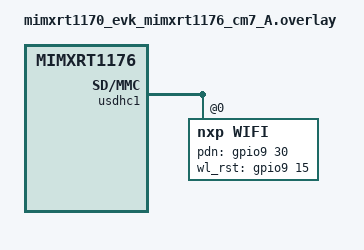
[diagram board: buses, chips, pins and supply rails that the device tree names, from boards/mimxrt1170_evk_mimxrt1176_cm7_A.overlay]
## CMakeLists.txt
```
# SPDX-License-Identifier: Apache-2.0

cmake_minimum_required(VERSION 3.28.0)

find_package(Zephyr REQUIRED HINTS $ENV{ZEPHYR_BASE})
project(wifi)

FILE(GLOB app_sources src/*.c)
target_sources(app PRIVATE ${app_sources})
```

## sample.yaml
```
common:
  harness: net
  tags:
    - net
    - wifi
sample:
  description: Test wifi driver and APIs functionality
  name: WiFi sample app
tests:
  sample.net.wifi:
    platform_allow:
      - cc3220sf_launchxl
      - disco_l475_iot1
      - reel_board
      - siwx917_rb4338a
    integration_platforms:
      - cc3220sf_launchxl
  sample.net.wifi.mikroe_wifi_bt_click:
    extra_args: SHIELD=mikroe_wifi_bt_click_mikrobus
    platform_allow: lpcxpresso55s69/lpc55s69/cpu0
  sample.net.wifi.esp_8266:
    extra_args: SHIELD=esp_8266
    platform_allow: sam4e_xpro
  sample.net.wifi.esp_8266_arduino:
    extra_args: SHIELD=esp_8266_arduino
    platform_allow:
      - frdm_k64f
      - disco_l475_iot1
    integration_platforms:
      - frdm_k64f
  sample.net.wifi.inventek_eswifi_arduino_uart:
    extra_args: SHIELD=inventek_eswifi_arduino_uart
    platform_allow:
      - frdm_k64f
      - nucleo_f767zi
    integration_platforms:
      - frdm_k64f
  sample.net.wifi.inventek_eswifi_arduino_spi:
    extra_args: SHIELD=inventek_eswifi_arduino_spi
    platform_allow:
      - frdm_k64f
      - nucleo_f767zi
    integration_platforms:
      - frdm_k64f
  sample.net.wifi.nrf70dk:
    extra_args:
      - CONFIG_BUILD_ONLY_NO_BLOBS=y
      - CONFIG_WIFI_CREDENTIALS=y
      - CONFIG_FLASH=y
      - CONFIG_FLASH_MAP=y
      - CONFIG_NVS=y
      - CONFIG_SETTINGS=y
    platform_allow:
      - nrf7002dk/nrf5340/cpuapp
      - nrf7002dk/nrf5340/cpuapp/nrf7001
    integration_platforms:
      - nrf7002dk/nrf5340/cpuapp
      - nrf7002dk/nrf5340/cpuapp/nrf7001
  sample.net.wifi.nrf7002ek:
    extra_args:
      - CONFIG_BUILD_ONLY_NO_BLOBS=y
      - SHIELD=nrf7002ek
    platform_allow:
      - nrf5340dk/nrf5340/cpuapp
      - nucleo_h723zg
    integration_platforms:
      - nrf5340dk/nrf5340/cpuapp
      - nucleo_h723zg
  sample.net.wifi.nrf7002eb:
    extra_args:
      - CONFIG_NRF70_UTIL=y
      - CONFIG_BUILD_ONLY_NO_BLOBS=y
      - SHIELD=nrf7002eb
    platform_allow:
      - thingy53/nrf5340/cpuapp
    integration_platforms:
      - thingy53/nrf5340/cpuapp
  sample.net.wifi.nrf7002eb2:
    extra_args:
      - CONFIG_BUILD_ONLY_NO_BLOBS=y
      - SHIELD=nrf7002eb2
    platform_allow:
      - nrf54lm20dk/nrf54lm20b/cpuapp
      - nrf54lm20dk/nrf54lm20b/cpuapp/ns
    integration_platforms:
      - nrf54lm20dk/nrf54lm20b/cpuapp
  sample.net.wifi.nxp_wifi:
    extra_args:
      - CONFIG_BUILD_ONLY_NO_BLOBS=y
    platform_allow:
      - frdm_rw612
      - rd_rw612_bga
  sample.net.wifi.esp32:
    extra_args:
      - CONFIG_BUILD_ONLY_NO_BLOBS=y
    platform_allow:
      - esp32_devkitc/esp32/procpu
      - esp32s2_devkitc
      - esp32c3_devkitc
      - esp32s3_devkitc/esp32s3/procpu
      - esp8684_devkitm
      - esp32c6_devkitc/esp32c6/hpcore
  sample.net.wifi.esp32.enterprise:
    extra_args:
      - CONFIG_BUILD_ONLY_NO_BLOBS=y
      - EXTRA_CONF_FILE=esp32/overlay_enterprise.conf
    platform_allow:
      - esp32c6_devkitc/esp32c6/hpcore
    integration_platforms:
      - esp32c6_devkitc/esp32c6/hpcore
  sample.net.wifi.siwx91x_offloaded:
    extra_args:
      - CONFIG_WIFI_SILABS_SIWX91X_NET_STACK_OFFLOAD=y
    platform_allow:
      - siwx917_rb4338a
  sample.net.wifi.sta_owe.esp32:
    extra_args:
      - CONFIG_BUILD_ONLY_NO_BLOBS=y
      - CONFIG_WIFI_CREDENTIALS_STATIC=y
      - CONFIG_WIFI_CREDENTIALS_STATIC_TYPE_OWE=y
      - CONFIG_ESP32_WIFI_ENABLE_WPA3_OWE_STA=y
      - CONFIG_ESP32_WIFI_ENABLE_WPA3_SAE=y
    platform_allow:
      - esp32c6_devkitc/esp32c6/hpcore
  sample.net.wifi.sta_owe.nxp:
    extra_args:
      - CONFIG_BUILD_ONLY_NO_BLOBS=y
      - CONFIG_WIFI_CREDENTIALS_STATIC=y
      - CONFIG_WIFI_CREDENTIALS_STATIC_TYPE_OWE=y
      - CONFIG_NXP_WIFI_OWE=y
    platform_allow:
      - frdm_rw612
```

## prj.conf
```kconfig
CONFIG_EARLY_CONSOLE=y

CONFIG_NETWORKING=y
CONFIG_TEST_RANDOM_GENERATOR=y

CONFIG_MAIN_STACK_SIZE=5200
CONFIG_SHELL_STACK_SIZE=5200
CONFIG_NET_TX_STACK_SIZE=2048
CONFIG_NET_RX_STACK_SIZE=2048

CONFIG_NET_PKT_RX_COUNT=10
CONFIG_NET_PKT_TX_COUNT=10
CONFIG_NET_BUF_RX_COUNT=20
CONFIG_NET_BUF_TX_COUNT=20
CONFIG_NET_MAX_CONTEXTS=10
CONFIG_NET_DHCPV4=y

CONFIG_NET_IPV4=y
CONFIG_NET_IPV6=n

CONFIG_NET_TCP=y

CONFIG_NET_LOG=y
CONFIG_INIT_STACKS=y

CONFIG_NET_SHELL=y

CONFIG_NET_STATISTICS=y
CONFIG_NET_STATISTICS_PERIODIC_OUTPUT=n

CONFIG_WIFI=y
CONFIG_WIFI_LOG_LEVEL_ERR=y
CONFIG_NET_L2_WIFI_SHELL=y
# printing of scan results puts pressure on queues in new locking
# design in net_mgmt. So, use a higher timeout for a crowded
# environment.
CONFIG_NET_MGMT_EVENT_QUEUE_TIMEOUT=5000
CONFIG_NET_MGMT_EVENT_QUEUE_SIZE=16
```

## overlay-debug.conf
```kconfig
# Debugging
CONFIG_STACK_SENTINEL=y
CONFIG_DEBUG_COREDUMP=y
CONFIG_DEBUG_COREDUMP_BACKEND_LOGGING=y
CONFIG_DEBUG_COREDUMP_MEMORY_DUMP_MIN=y
```

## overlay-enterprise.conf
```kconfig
CONFIG_WIFI_NM_WPA_SUPPLICANT_CRYPTO_ENTERPRISE=y
# EAP frames are ~1100 bytes, so, need higher packet counts as default packet size is 128
CONFIG_NET_PKT_TX_COUNT=36
CONFIG_NET_PKT_RX_COUNT=36
CONFIG_NET_BUF_TX_COUNT=72
CONFIG_NET_BUF_RX_COUNT=36
# For TLS and X.509 processing MbedTLS needs large heap size and using separate heap
# for MbedTLS gives us more control over the heap size.
CONFIG_MBEDTLS_ENABLE_HEAP=y
CONFIG_MBEDTLS_HEAP_SIZE=70000
```

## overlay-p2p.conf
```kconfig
CONFIG_WIFI_NM_WPA_SUPPLICANT_P2P=y
CONFIG_WPA_CLI=y
CONFIG_NRF70_P2P_MODE=y
CONFIG_WIFI_NM_WPA_SUPPLICANT_LOG_LEVEL_INF=y
CONFIG_LTO=y
CONFIG_ISR_TABLES_LOCAL_DECLARATION=y
```

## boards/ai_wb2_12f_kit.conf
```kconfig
# BL602 WiFi driver overlay for the wifi shell sample.

# 184 KB usable RAM: drop IPv6/TCP.
CONFIG_NET_IPV6=n
CONFIG_NET_TCP=n

# The supplicant allocates scan results/BSS entries from the system heap;
# size it generously.  Keep a small fixed libc arena for mbedTLS calloc.
CONFIG_HEAP_MEM_POOL_SIZE=49152
CONFIG_COMMON_LIBC_MALLOC_ARENA_SIZE=8192

# The wifi shell sample's prj.conf overrides the SoC defaults for these:
# restore the 8 KB shell stack the TX path needs (net_pkt_read -> blob TX
# chain -> SW CCMP encrypt overflows the sample's 5200) and rein the
# net buffer counts back in for the RAM budget.
CONFIG_SHELL_STACK_SIZE=8192
CONFIG_NET_PKT_RX_COUNT=8
CONFIG_NET_PKT_TX_COUNT=4
CONFIG_NET_BUF_RX_COUNT=16
CONFIG_NET_BUF_TX_COUNT=14
```

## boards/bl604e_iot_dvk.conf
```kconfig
# BL604 WiFi driver overlay for the wifi shell sample.

# 184 KB usable RAM: drop IPv6/TCP.
CONFIG_NET_IPV6=n
CONFIG_NET_TCP=n

# The supplicant allocates scan results/BSS entries from the system heap;
# size it generously.  Keep a small fixed libc arena for mbedTLS calloc.
CONFIG_HEAP_MEM_POOL_SIZE=49152
CONFIG_COMMON_LIBC_MALLOC_ARENA_SIZE=8192

# The wifi shell sample's prj.conf overrides the SoC defaults for these:
# restore the 8 KB shell stack the TX path needs (net_pkt_read -> blob TX
# chain -> SW CCMP encrypt overflows the sample's 5200) and rein the
# net buffer counts back in for the RAM budget.
CONFIG_SHELL_STACK_SIZE=8192
CONFIG_NET_PKT_RX_COUNT=8
CONFIG_NET_PKT_TX_COUNT=4
CONFIG_NET_BUF_RX_COUNT=16
CONFIG_NET_BUF_TX_COUNT=14
```

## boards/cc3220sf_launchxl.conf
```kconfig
# Conf file to test the net_wifi shell module with the cc3220sf WiFi driver
# cmake .. -DBOARD=cc3220sf_launchxl
CONFIG_WIFI_SIMPLELINK=y
# The SimpleLink driver is deprecated, keep the build going until it is removed
CONFIG_WARN_DEPRECATED=n
# Debugging
CONFIG_WIFI_LOG_LEVEL_DBG=y
CONFIG_DEBUG=y
```

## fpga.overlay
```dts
/* Copyright (c) 2024 Nordic Semiconductor ASA
 *
 * SPDX-License-Identifier: LicenseRef-Nordic-5-Clause
 */

&nrf70 {
	qspi-frequency = <8000000>;
	/* Wi-Fi Pins used */
	iovdd-ctrl-gpios = <&gpio0 12 GPIO_ACTIVE_HIGH>;
	bucken-gpios = <&gpio0 12 GPIO_ACTIVE_HIGH>;
	host-irq-gpios = <&gpio0 23 GPIO_ACTIVE_HIGH>;
};
```

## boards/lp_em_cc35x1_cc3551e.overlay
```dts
/*
 * Copyright (c) 2025 Conclusive Engineering Sp. z o.o.
 *
 * SPDX-License-Identifier: Apache-2.0
 */

&wlan0 {
	status = "okay";
};
```

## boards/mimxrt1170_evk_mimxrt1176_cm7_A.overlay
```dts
/*
 * Copyright 2024 NXP
 *
 * SPDX-License-Identifier: Apache-2.0
 */

&usdhc1 {
    #address-cells = <1>;
    #size-cells = <0>;
    status = "okay";
    pinctrl-0 = <&pinmux_usdhc1>;
    pinctrl-1 = <&pinmux_usdhc1_dat3_nopull>;
    pinctrl-names = "default", "nopull";
    pwr-gpios = <&gpio10 2 GPIO_ACTIVE_LOW>;
    power-delay-ms = <100>;

    wifi: nxp_wifi@0 {
        compatible = "nxp,wifi";
        reg = <0>;
        status = "okay";

        pdn-gpios = <&gpio9 30 GPIO_ACTIVE_HIGH>;
        wl_rst-gpios = <&gpio9 15 GPIO_ACTIVE_HIGH>;
    };
};
```

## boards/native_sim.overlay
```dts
/*
 * Copyright (c) 2025 Zephyr Project
 * SPDX-License-Identifier: Apache-2.0
 *
 * Add two wifi_hwsim radios for native_sim (unit addresses avoid clash with
 * spi@200 on the base board).
 */

/ {
	wifi_hwsim_0: wifi_hwsim@202 {
		compatible = "zephyr,wifi-hwsim";
		reg = <0x202 1>;
		radio-index = <0>;
		status = "okay";
	};

	wifi_hwsim_1: wifi_hwsim@203 {
		compatible = "zephyr,wifi-hwsim";
		reg = <0x203 1>;
		radio-index = <1>;
		status = "okay";
	};
};

/* Connect UART (shell) to process stdin/stdout so the shell is interactive. */
&uart0 {
	on-stdinout;
};
```

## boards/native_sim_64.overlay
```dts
/*
 * Copyright (c) 2025 Zephyr Project
 * SPDX-License-Identifier: Apache-2.0
 *
 * Add two wifi_hwsim radios for native_sim 64-bit (unit addresses avoid
 * clash with spi@200 on the base board).
 */

/ {
	wifi_hwsim_0: wifi_hwsim@202 {
		compatible = "zephyr,wifi-hwsim";
		reg = <0x202 1>;
		radio-index = <0>;
		status = "okay";
	};

	wifi_hwsim_1: wifi_hwsim@203 {
		compatible = "zephyr,wifi-hwsim";
		reg = <0x203 1>;
		radio-index = <1>;
		status = "okay";
	};
};

&uart0 {
	on-stdinout;
};
```

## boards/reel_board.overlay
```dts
/*
 * Copyright (c) 2020 Phytec Messtechnik GmbH
 *
 * SPDX-License-Identifier: Apache-2.0
 */

&pinctrl {
	spi3_default_alt: spi3_default_alt {
		group1 {
			psels = <NRF_PSEL(SPIM_SCK, 1, 4)>,
				<NRF_PSEL(SPIM_MOSI, 1, 5)>,
				<NRF_PSEL(SPIM_MISO, 1, 6)>;
		};
	};

	spi3_sleep_alt: spi3_sleep_alt {
		group1 {
			psels = <NRF_PSEL(SPIM_SCK, 1, 4)>,
				<NRF_PSEL(SPIM_MOSI, 1, 5)>,
				<NRF_PSEL(SPIM_MISO, 1, 6)>;
			low-power-enable;
		};
	};
};

&spi3 {
	cs-gpios = <&gpio1 3 GPIO_ACTIVE_LOW>;
	pinctrl-0 = <&spi3_default_alt>;
	pinctrl-1 = <&spi3_sleep_alt>;
	pinctrl-names = "default", "sleep";
	status = "okay";

	winc1500@0 {
		compatible = "atmel,winc1500";
		reg = <0x0>;
		spi-max-frequency = <4000000>;
		irq-gpios = <&gpio1 7 1>;
		reset-gpios = <&gpio1 8 1>;
		enable-gpios = <&gpio1 12 0>;
		status = "okay";
	};
};
```

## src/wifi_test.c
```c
/*
 * Copyright (c) 2016 Intel Corporation.
 *
 * SPDX-License-Identifier: Apache-2.0
 */

int main(void)
{
	return 0;
}
```
